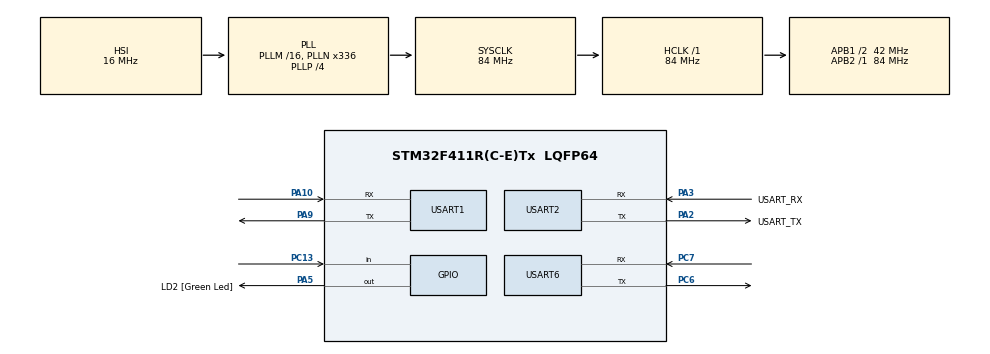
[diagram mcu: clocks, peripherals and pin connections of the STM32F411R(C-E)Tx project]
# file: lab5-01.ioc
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Mcu.Family=STM32F4
Mcu.Name=STM32F411R(C-E)Tx
Mcu.Package=LQFP64
NVIC.PriorityGroup=NVIC_PRIORITYGROUP_0
NVIC.USART6_IRQn=true\:0\:0\:false\:false\:true\:true\:true\:true
PA10.Mode=Asynchronous
PA10.Signal=USART1_RX
PA13.GPIO_Label=TMS
PA13.Mode=Serial_Wire
PA13.Signal=SYS_JTMS-SWDIO
PA14.GPIO_Label=TCK
PA14.Mode=Serial_Wire
PA14.Signal=SYS_JTCK-SWCLK
PA2.GPIO_Label=USART_TX
PA2.Mode=Asynchronous
PA2.Signal=USART2_TX
PA3.GPIO_Label=USART_RX
PA3.Mode=Asynchronous
PA3.Signal=USART2_RX
PA5.GPIO_Label=LD2 [Green Led]
PA5.Signal=GPIO_Output
PA9.Mode=Asynchronous
PA9.Signal=USART1_TX
PB3.GPIO_Label=SWO
PB3.Signal=SYS_JTDO-SWO
PC13-ANTI_TAMP.Signal=GPIO_Input
PC14-OSC32_IN.Mode=LSE-External-Oscillator
PC14-OSC32_IN.Signal=RCC_OSC32_IN
PC15-OSC32_OUT.Mode=LSE-External-Oscillator
PC15-OSC32_OUT.Signal=RCC_OSC32_OUT
PC6.Mode=Asynchronous
PC6.Signal=USART6_TX
PC7.Mode=Asynchronous
PC7.Signal=USART6_RX
PH0\ -\ OSC_IN.Mode=HSE-External-Clock-Source
PH0\ -\ OSC_IN.Signal=RCC_OSC_IN
PH1\ -\ OSC_OUT.Mode=HSE-External-Clock-Source
PH1\ -\ OSC_OUT.Signal=RCC_OSC_OUT
ProjectManager.HeapSize=0x200
ProjectManager.StackSize=0x400
ProjectManager.TargetToolchain=STM32CubeIDE
RCC.48MHZClocksFreq_Value=84000000
RCC.AHBFreq_Value=84000000
RCC.APB1CLKDivider=RCC_HCLK_DIV2
RCC.APB1Freq_Value=42000000
RCC.APB1TimFreq_Value=84000000
RCC.APB2Freq_Value=84000000
RCC.APB2TimFreq_Value=84000000
RCC.CortexFreq_Value=84000000
RCC.FLatency-AdvancedSettings=FLASH_LATENCY_2
RCC.HCLKFreq_Value=84000000
RCC.HSE_VALUE=8000000
RCC.HSI_VALUE=16000000
RCC.PLLN=336
RCC.PLLP=RCC_PLLP_DIV4
RCC.SYSCLKFreq_VALUE=84000000
RCC.SYSCLKSource=RCC_SYSCLKSOURCE_PLLCLK
RCC.VCOOutputFreq_Value=336000000
USART1.VirtualMode=VM_ASYNC
USART2.VirtualMode=VM_ASYNC
USART6.VirtualMode=VM_ASYNC
board=NUCLEO-F411RE

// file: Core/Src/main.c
/* USER CODE BEGIN Header */
/**
  ******************************************************************************
  * @file           : main.c
  * @brief          : Main program body
  ******************************************************************************
  * @attention
  *
  * Copyright (c) 2024 STMicroelectronics.
  * All rights reserved.
  *
  * This software is licensed under terms that can be found in the LICENSE file
  * in the root directory of this software component.
  * If no LICENSE file comes with this software, it is provided AS-IS.
  *
  ******************************************************************************
  */
/* USER CODE END Header */
#include "main.h"

/* USER CODE BEGIN Includes */
#include <stdbool.h>
/* USER CODE END Includes */

UART_HandleTypeDef huart1;
UART_HandleTypeDef huart2;
UART_HandleTypeDef huart6;

void SystemClock_Config(void);
static void MX_GPIO_Init(void);
static void MX_USART2_UART_Init(void);
static void MX_USART1_UART_Init(void);
static void MX_USART6_UART_Init(void);

/* USER CODE BEGIN 0 */
char slaveBuffer[10];

void HAL_UART_RxCpltCallback(UART_HandleTypeDef *huart) {
	HAL_UART_Receive_IT(&huart6, slaveBuffer, 1);

	if (huart != &huart6) {
		return;
	}

	if (slaveBuffer[0] == 'T') {
		HAL_GPIO_TogglePin(GPIOA, GPIO_PIN_5);
	}
}
/* USER CODE END 0 */

int main(void)
{

  /* MCU Configuration--------------------------------------------------------*/

  /* Reset of all peripherals, Initializes the Flash interface and the Systick. */
  HAL_Init();

  /* Configure the system clock */
  SystemClock_Config();

  /* Initialize all configured peripherals */
  MX_GPIO_Init();
  MX_USART2_UART_Init();
  MX_USART1_UART_Init();
  MX_USART6_UART_Init();
  /* USER CODE BEGIN 2 */
  HAL_UART_Receive_IT(&huart6, slaveBuffer, 1);
  bool btnOn = false;
  const char* toggleMsg = "T";

  int x = USE_HAL_UART_REGISTER_CALLBACKS;
  /* USER CODE END 2 */

  /* Infinite loop */
  /* USER CODE BEGIN WHILE */
  while (1)
  {
	  if (HAL_GPIO_ReadPin(GPIOC, GPIO_PIN_13) == GPIO_PIN_RESET) {
		  HAL_Delay(10);

		  if (!btnOn && HAL_GPIO_ReadPin(GPIOC, GPIO_PIN_13) == GPIO_PIN_RESET) {
			  btnOn = true;

			  HAL_UART_Transmit(&huart1, toggleMsg, 1, 10);
		  }
	  }
	  else {
		  btnOn = false;
	  }
    /* USER CODE END WHILE */

  }
}

void SystemClock_Config(void)
{
  RCC_OscInitTypeDef RCC_OscInitStruct = {0};
  RCC_ClkInitTypeDef RCC_ClkInitStruct = {0};

  /** Configure the main internal regulator output voltage
  */
  __HAL_RCC_PWR_CLK_ENABLE();
  __HAL_PWR_VOLTAGESCALING_CONFIG(PWR_REGULATOR_VOLTAGE_SCALE1);

  /** Initializes the RCC Oscillators according to the specified parameters
  * in the RCC_OscInitTypeDef structure.
  */
  RCC_OscInitStruct.OscillatorType = RCC_OSCILLATORTYPE_HSI;
  RCC_OscInitStruct.HSIState = RCC_HSI_ON;
  RCC_OscInitStruct.HSICalibrationValue = RCC_HSICALIBRATION_DEFAULT;
  RCC_OscInitStruct.PLL.PLLState = RCC_PLL_ON;
  RCC_OscInitStruct.PLL.PLLSource = RCC_PLLSOURCE_HSI;
  RCC_OscInitStruct.PLL.PLLM = 16;
  RCC_OscInitStruct.PLL.PLLN = 336;
  RCC_OscInitStruct.PLL.PLLP = RCC_PLLP_DIV4;
  RCC_OscInitStruct.PLL.PLLQ = 4;
  if (HAL_RCC_OscConfig(&RCC_OscInitStruct) != HAL_OK)
  {
    Error_Handler();
  }

  /** Initializes the CPU, AHB and APB buses clocks
  */
  RCC_ClkInitStruct.ClockType = RCC_CLOCKTYPE_HCLK|RCC_CLOCKTYPE_SYSCLK
                              |RCC_CLOCKTYPE_PCLK1|RCC_CLOCKTYPE_PCLK2;
  RCC_ClkInitStruct.SYSCLKSource = RCC_SYSCLKSOURCE_PLLCLK;
  RCC_ClkInitStruct.AHBCLKDivider = RCC_SYSCLK_DIV1;
  RCC_ClkInitStruct.APB1CLKDivider = RCC_HCLK_DIV2;
  RCC_ClkInitStruct.APB2CLKDivider = RCC_HCLK_DIV1;

  if (HAL_RCC_ClockConfig(&RCC_ClkInitStruct, FLASH_LATENCY_2) != HAL_OK)
  {
    Error_Handler();
  }
}

static void MX_USART1_UART_Init(void)
{

  huart1.Instance = USART1;
  huart1.Init.BaudRate = 115200;
  huart1.Init.WordLength = UART_WORDLENGTH_8B;
  huart1.Init.StopBits = UART_STOPBITS_1;
  huart1.Init.Parity = UART_PARITY_NONE;
  huart1.Init.Mode = UART_MODE_TX_RX;
  huart1.Init.HwFlowCtl = UART_HWCONTROL_NONE;
  huart1.Init.OverSampling = UART_OVERSAMPLING_16;
  if (HAL_UART_Init(&huart1) != HAL_OK)
  {
    Error_Handler();
  }

}

static void MX_USART2_UART_Init(void)
{

  huart2.Instance = USART2;
  huart2.Init.BaudRate = 115200;
  huart2.Init.WordLength = UART_WORDLENGTH_8B;
  huart2.Init.StopBits = UART_STOPBITS_1;
  huart2.Init.Parity = UART_PARITY_NONE;
  huart2.Init.Mode = UART_MODE_TX_RX;
  huart2.Init.HwFlowCtl = UART_HWCONTROL_NONE;
  huart2.Init.OverSampling = UART_OVERSAMPLING_16;
  if (HAL_UART_Init(&huart2) != HAL_OK)
  {
    Error_Handler();
  }

}

static void MX_USART6_UART_Init(void)
{

  huart6.Instance = USART6;
  huart6.Init.BaudRate = 115200;
  huart6.Init.WordLength = UART_WORDLENGTH_8B;
  huart6.Init.StopBits = UART_STOPBITS_1;
  huart6.Init.Parity = UART_PARITY_NONE;
  huart6.Init.Mode = UART_MODE_TX_RX;
  huart6.Init.HwFlowCtl = UART_HWCONTROL_NONE;
  huart6.Init.OverSampling = UART_OVERSAMPLING_16;
  if (HAL_UART_Init(&huart6) != HAL_OK)
  {
    Error_Handler();
  }

}

static void MX_GPIO_Init(void)
{
  GPIO_InitTypeDef GPIO_InitStruct = {0};

  /* GPIO Ports Clock Enable */
  __HAL_RCC_GPIOC_CLK_ENABLE();
  __HAL_RCC_GPIOH_CLK_ENABLE();
  __HAL_RCC_GPIOA_CLK_ENABLE();
  __HAL_RCC_GPIOB_CLK_ENABLE();

  /*Configure GPIO pin Output Level */
  HAL_GPIO_WritePin(LD2_GPIO_Port, LD2_Pin, GPIO_PIN_RESET);

  /*Configure GPIO pin : PC13 */
  GPIO_InitStruct.Pin = GPIO_PIN_13;
  GPIO_InitStruct.Mode = GPIO_MODE_INPUT;
  GPIO_InitStruct.Pull = GPIO_NOPULL;
  HAL_GPIO_Init(GPIOC, &GPIO_InitStruct);

  /*Configure GPIO pin : LD2_Pin */
  GPIO_InitStruct.Pin = LD2_Pin;
  GPIO_InitStruct.Mode = GPIO_MODE_OUTPUT_PP;
  GPIO_InitStruct.Pull = GPIO_NOPULL;
  GPIO_InitStruct.Speed = GPIO_SPEED_FREQ_LOW;
  HAL_GPIO_Init(LD2_GPIO_Port, &GPIO_InitStruct);

}

void Error_Handler(void)
{
  __disable_irq();
  while (1)
  {
  }
}
